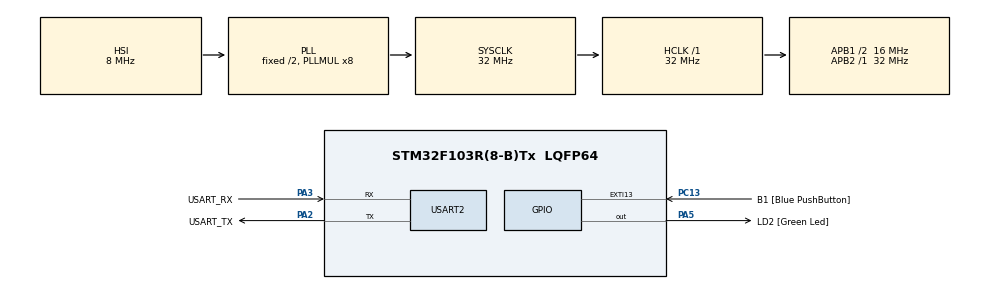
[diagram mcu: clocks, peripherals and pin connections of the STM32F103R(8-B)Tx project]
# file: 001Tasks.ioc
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Mcu.Family=STM32F1
Mcu.Name=STM32F103R(8-B)Tx
Mcu.Package=LQFP64
NVIC.EXTI15_10_IRQn=true\:0\:0\:false\:false\:true\:true\:true\:true
NVIC.PriorityGroup=NVIC_PRIORITYGROUP_4
NVIC.TIM4_IRQn=true\:15\:0\:false\:false\:true\:false\:true\:true
NVIC.TimeBase=TIM4_IRQn
NVIC.TimeBaseIP=TIM4
PA13.GPIO_Label=TMS
PA13.Mode=Serial_Wire
PA13.Signal=SYS_JTMS-SWDIO
PA14.GPIO_Label=TCK
PA14.Mode=Serial_Wire
PA14.Signal=SYS_JTCK-SWCLK
PA2.GPIO_Label=USART_TX
PA2.GPIO_Mode=GPIO_MODE_AF_PP
PA2.GPIO_PuPd=GPIO_NOPULL
PA2.GPIO_Speed=GPIO_SPEED_FREQ_LOW
PA2.Mode=Asynchronous
PA2.Signal=USART2_TX
PA3.GPIO_Label=USART_RX
PA3.GPIO_Mode=GPIO_MODE_AF_PP
PA3.GPIO_PuPd=GPIO_NOPULL
PA3.GPIO_Speed=GPIO_SPEED_FREQ_LOW
PA3.Mode=Asynchronous
PA3.Signal=USART2_RX
PA5.GPIO_Label=LD2 [Green Led]
PA5.GPIO_ModeDefaultOutputPP=GPIO_MODE_OUTPUT_PP
PA5.GPIO_PuPd=GPIO_NOPULL
PA5.GPIO_Speed=GPIO_SPEED_FREQ_LOW
PA5.Signal=GPIO_Output
PB3.GPIO_Label=SWO
PB3.Signal=SYS_JTDO-TRACESWO
PC13-TAMPER-RTC.GPIO_Label=B1 [Blue PushButton]
PC13-TAMPER-RTC.GPIO_ModeDefaultEXTI=GPIO_MODE_IT_FALLING
PC13-TAMPER-RTC.GPIO_PuPd=GPIO_NOPULL
PC13-TAMPER-RTC.Signal=GPXTI13
PC14-OSC32_IN.Signal=RCC_OSC32_IN
PC15-OSC32_OUT.Signal=RCC_OSC32_OUT
PD0-OSC_IN.Signal=RCC_OSC_IN
PD1-OSC_OUT.Signal=RCC_OSC_OUT
ProjectManager.HeapSize=0x200
ProjectManager.StackSize=0x400
ProjectManager.TargetToolchain=STM32CubeIDE
RCC.AHBFreq_Value=32000000
RCC.APB1CLKDivider=RCC_HCLK_DIV2
RCC.APB1Freq_Value=16000000
RCC.APB1TimFreq_Value=32000000
RCC.APB2Freq_Value=32000000
RCC.APB2TimFreq_Value=32000000
RCC.HCLKFreq_Value=32000000
RCC.PLLMUL=RCC_PLL_MUL8
RCC.SYSCLKFreq_VALUE=32000000
RCC.SYSCLKSource=RCC_SYSCLKSOURCE_PLLCLK
RCC.USBFreq_Value=32000000
USART2.VirtualMode=VM_ASYNC
VP_SYS_VS_tim4.Mode=TIM4
board=NUCLEO-F103RB

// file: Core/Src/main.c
/* USER CODE BEGIN Header */
/**
  ******************************************************************************
  * @file           : main.c
  * @brief          : Main program body
  ******************************************************************************
  * @attention
  *
  * Copyright (c) 2025 STMicroelectronics.
  * All rights reserved.
  *
  * This software is licensed under terms that can be found in the LICENSE file
  * in the root directory of this software component.
  * If no LICENSE file comes with this software, it is provided AS-IS.
  *
  ******************************************************************************
  */
/* USER CODE END Header */
#include "main.h"

/* USER CODE BEGIN Includes */
#include "FreeRTOS.h"
#include "task.h"
#include <stdio.h>
#include <stdint.h>
/* USER CODE END Includes */

UART_HandleTypeDef huart2;

/* USER CODE BEGIN PV */
#define DWT_CTRL	(*(volatile uint32_t*) 0xE0001000)
/* USER CODE END PV */

void SystemClock_Config(void);
static void MX_GPIO_Init(void);
static void MX_USART2_UART_Init(void);
/* USER CODE BEGIN PFP */
static void task1_handler(void* parameters);
static void task2_handler(void* parameters);
/* USER CODE END PFP */

int main(void)
{

  /* USER CODE BEGIN 1 */
//  TaskHandle_t task1_handle;
//  TaskHandle_t task2_handle;
//
//  BaseType_t status;
  /* USER CODE END 1 */

  /* MCU Configuration--------------------------------------------------------*/

  /* Reset of all peripherals, Initializes the Flash interface and the Systick. */
  HAL_Init();

  /* Configure the system clock */
  SystemClock_Config();

  /* Initialize all configured peripherals */
  MX_GPIO_Init();
  MX_USART2_UART_Init();
  /* USER CODE BEGIN 2 */

  //Enable the CYCCNT counter.
  DWT_CTRL |= (1 << 0);

  SEGGER_SYSVIEW_Conf();

  SEGGER_SYSVIEW_Start();

  status = xTaskCreate(task1_handler, "Task-1", 200, "Hello world from Task-1", 2, &task1_handle);

  configASSERT(status == pdPASS);

  status = xTaskCreate(task2_handler, "Task-2", 200, "Hello world from Task-2", 2, &task2_handle);

  configASSERT(status == pdPASS);

  // start the freeRTOS scheduler
  vTaskStartScheduler();

  /* USER CODE END 2 */

  /* Infinite loop */
  while (1)
  {

  }
}

void SystemClock_Config(void)
{
  RCC_OscInitTypeDef RCC_OscInitStruct = {0};
  RCC_ClkInitTypeDef RCC_ClkInitStruct = {0};

  /** Initializes the RCC Oscillators according to the specified parameters
  * in the RCC_OscInitTypeDef structure.
  */
  RCC_OscInitStruct.OscillatorType = RCC_OSCILLATORTYPE_HSI;
  RCC_OscInitStruct.HSIState = RCC_HSI_ON;
  RCC_OscInitStruct.HSICalibrationValue = RCC_HSICALIBRATION_DEFAULT;
  RCC_OscInitStruct.PLL.PLLState = RCC_PLL_ON;
  RCC_OscInitStruct.PLL.PLLSource = RCC_PLLSOURCE_HSI_DIV2;
  RCC_OscInitStruct.PLL.PLLMUL = RCC_PLL_MUL8;
  if (HAL_RCC_OscConfig(&RCC_OscInitStruct) != HAL_OK)
  {
    Error_Handler();
  }

  /** Initializes the CPU, AHB and APB buses clocks
  */
  RCC_ClkInitStruct.ClockType = RCC_CLOCKTYPE_HCLK|RCC_CLOCKTYPE_SYSCLK
                              |RCC_CLOCKTYPE_PCLK1|RCC_CLOCKTYPE_PCLK2;
  RCC_ClkInitStruct.SYSCLKSource = RCC_SYSCLKSOURCE_PLLCLK;
  RCC_ClkInitStruct.AHBCLKDivider = RCC_SYSCLK_DIV1;
  RCC_ClkInitStruct.APB1CLKDivider = RCC_HCLK_DIV2;
  RCC_ClkInitStruct.APB2CLKDivider = RCC_HCLK_DIV1;

  if (HAL_RCC_ClockConfig(&RCC_ClkInitStruct, FLASH_LATENCY_1) != HAL_OK)
  {
    Error_Handler();
  }
}

static void MX_USART2_UART_Init(void)
{

  huart2.Instance = USART2;
  huart2.Init.BaudRate = 115200;
  huart2.Init.WordLength = UART_WORDLENGTH_8B;
  huart2.Init.StopBits = UART_STOPBITS_1;
  huart2.Init.Parity = UART_PARITY_NONE;
  huart2.Init.Mode = UART_MODE_TX_RX;
  huart2.Init.HwFlowCtl = UART_HWCONTROL_NONE;
  huart2.Init.OverSampling = UART_OVERSAMPLING_16;
  if (HAL_UART_Init(&huart2) != HAL_OK)
  {
    Error_Handler();
  }

}

static void MX_GPIO_Init(void)
{
  GPIO_InitTypeDef GPIO_InitStruct = {0};

  /* GPIO Ports Clock Enable */
  __HAL_RCC_GPIOC_CLK_ENABLE();
  __HAL_RCC_GPIOD_CLK_ENABLE();
  __HAL_RCC_GPIOA_CLK_ENABLE();
  __HAL_RCC_GPIOB_CLK_ENABLE();

  /*Configure GPIO pin Output Level */
  HAL_GPIO_WritePin(LD2_GPIO_Port, LD2_Pin, GPIO_PIN_RESET);

  /*Configure GPIO pin : B1_Pin */
  GPIO_InitStruct.Pin = B1_Pin;
  GPIO_InitStruct.Mode = GPIO_MODE_IT_FALLING;
  GPIO_InitStruct.Pull = GPIO_NOPULL;
  HAL_GPIO_Init(B1_GPIO_Port, &GPIO_InitStruct);

  /*Configure GPIO pin : LD2_Pin */
  GPIO_InitStruct.Pin = LD2_Pin;
  GPIO_InitStruct.Mode = GPIO_MODE_OUTPUT_PP;
  GPIO_InitStruct.Pull = GPIO_NOPULL;
  GPIO_InitStruct.Speed = GPIO_SPEED_FREQ_LOW;
  HAL_GPIO_Init(LD2_GPIO_Port, &GPIO_InitStruct);

  /* EXTI interrupt init*/
  HAL_NVIC_SetPriority(EXTI15_10_IRQn, 0, 0);
  HAL_NVIC_EnableIRQ(EXTI15_10_IRQn);

}

/* USER CODE BEGIN 4 */
static void task1_handler(void* parameters)
{
	const char* msg = (const char*)parameters;
	while(1)
	{
        HAL_UART_Transmit(&huart2, (uint8_t*)msg, (uint16_t)strlen(msg), HAL_MAX_DELAY);
        HAL_UART_Transmit(&huart2, (uint8_t*)"\r\n", 2, HAL_MAX_DELAY);
		taskYIELD();
	}
}

static void task2_handler(void* parameters)
{
	while(1)
	{
        HAL_UART_Transmit(&huart2, (uint8_t*)msg, (uint16_t)strlen(msg), HAL_MAX_DELAY);
        HAL_UART_Transmit(&huart2, (uint8_t*)"\r\n", 2, HAL_MAX_DELAY);
		taskYIELD();
	}
}
/* USER CODE END 4 */

void HAL_TIM_PeriodElapsedCallback(TIM_HandleTypeDef *htim)
{
  if (htim->Instance == TIM4)
  {
    HAL_IncTick();
  }
}

void Error_Handler(void)
{
  __disable_irq();
  while (1)
  {
  }
}
